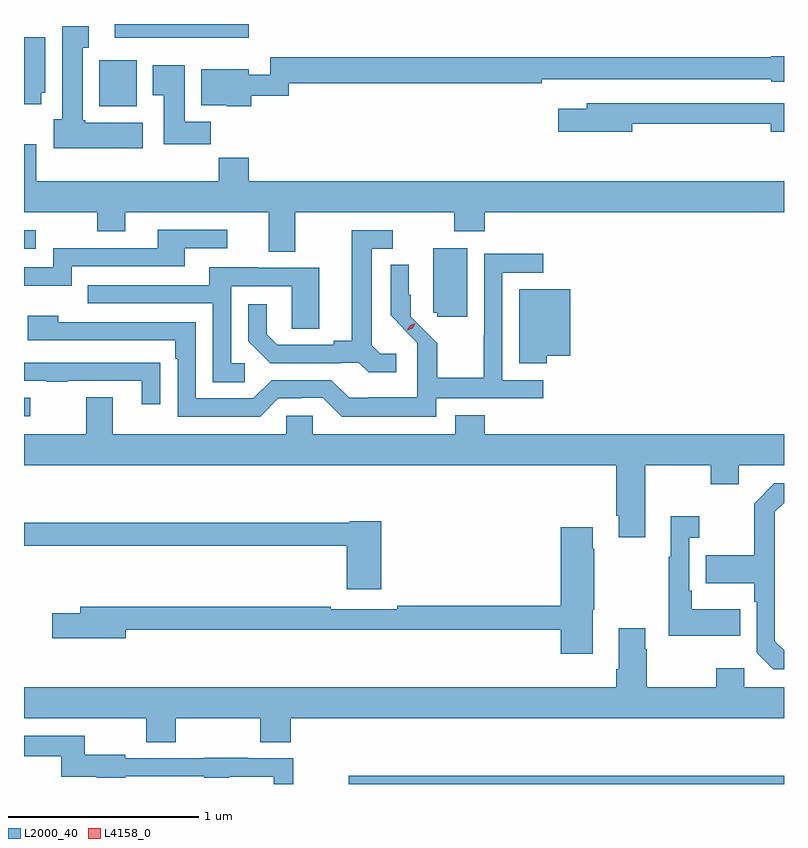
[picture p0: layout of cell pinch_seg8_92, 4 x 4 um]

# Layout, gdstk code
import gdstk
lib = gdstk.Library(unit=1e-6, precision=1e-09)
def R(c, l, rs):  # rectangles x0, y0, x1, y1
    for r in rs: c.add(gdstk.rectangle(r[:2], r[2:], *l))
def P(c, l, *ps):  # polygons
    for p in ps: c.add(gdstk.Polygon(p, *l))
L2000_40 = (2000, 40)
L4158_0 = (4158, 0)

pinch_seg8_92 = lib.new_cell('pinch_seg8_92')
R(pinch_seg8_92, L2000_40, [(1079.54,1101.503,1081.83,1101.547), (1077.83,1103.439,1077.862,1103.535), (1077.83,1104.321,1077.892,1104.417), (1078.226,1105.07,1078.423,1105.312), (1078.307,1105.43,1079.012,1105.503)])
P(pinch_seg8_92, L2000_40, [(1078.456,1104.982),(1078.152,1104.982),(1078.152,1104.996),(1078.138,1104.996),(1078.138,1105.379),(1078.171,1105.379),(1078.171,1105.492),(1078.031,1105.492),(1078.031,1105.002),(1077.986,1105.002),(1077.986,1104.848),(1078.456,1104.848)],
  [(1077.922,1105.14),(1077.943,1105.14),(1077.943,1105.432),(1077.83,1105.432),(1077.83,1105.08),(1077.922,1105.08)],
  [(1079.027,1105.125),(1079.223,1105.125),(1079.223,1105.192),(1080.554,1105.192),(1080.554,1105.212),(1081.764,1105.212),(1081.764,1105.199),(1081.83,1105.199),(1081.83,1105.334),(1081.764,1105.334),(1081.764,1105.328),(1079.127,1105.328),(1079.127,1105.235),(1079.014,1105.235),(1079.014,1105.264),(1078.763,1105.264),(1078.763,1105.076),(1078.896,1105.076),(1078.896,1105.07),(1079.027,1105.07)],
  [(1078.814,1104.988),(1078.675,1104.988),(1078.675,1105.285),(1078.508,1105.285),(1078.508,1105.129),(1078.565,1105.129),(1078.565,1104.87),(1078.814,1104.87)],
  [(1081.03,1104.978),(1081.76,1104.978),(1081.76,1104.935),(1081.83,1104.935),(1081.83,1105.086),(1080.791,1105.086),(1080.791,1105.057),(1080.642,1105.057),(1080.642,1104.935),(1081.03,1104.935)],
  [(1079.012,1104.8),(1078.855,1104.8),(1078.855,1104.676),(1077.895,1104.676),(1077.895,1104.871),(1077.83,1104.871),(1077.83,1104.512),(1078.216,1104.512),(1078.216,1104.413),(1078.363,1104.413),(1078.363,1104.512),(1079.117,1104.512),(1079.117,1104.304),(1079.257,1104.304),(1079.257,1104.512),(1080.094,1104.512),(1080.094,1104.413),(1080.254,1104.413),(1080.254,1104.512),(1081.83,1104.512),(1081.83,1104.676),(1079.012,1104.676)],
  [(1078.08,1104.228),(1078.675,1104.228),(1078.675,1104.324),(1078.9,1104.324),(1078.9,1104.42),(1078.535,1104.42),(1078.535,1104.324),(1077.984,1104.324),(1077.984,1104.222),(1077.83,1104.222),(1077.83,1104.125),(1078.08,1104.125)],
  [(1079.788,1103.767),(1079.705,1103.767),(1079.659,1103.813),(1079.659,1104.321),(1079.77,1104.321),(1079.77,1104.417),(1079.555,1104.417),(1079.555,1103.837),(1079.459,1103.837),(1079.459,1103.814),(1079.164,1103.814),(1079.107,1103.871),(1079.107,1104.028),(1079.01,1104.028),(1079.01,1103.834),(1079.126,1103.718),(1079.498,1103.718),(1079.498,1103.721),(1079.592,1103.721),(1079.644,1103.669),(1079.788,1103.669)],
  [(1080.163,1104.322),(1079.984,1104.322),(1079.984,1103.982),(1080.006,1103.982),(1080.006,1103.961),(1080.163,1103.961)],
  [(1080,1103.532),(1080.562,1103.532),(1080.562,1103.628),(1080.348,1103.628),(1080.348,1104.195),(1080.562,1104.195),(1080.562,1104.294),(1080.252,1104.294),(1080.252,1103.864),(1080.25,1103.864),(1080.25,1103.641),(1080.005,1103.641),(1080.005,1103.822),(1079.865,1103.962),(1079.865,1104.078),(1079.856,1104.078),(1079.856,1104.236),(1079.76,1104.236),(1079.76,1103.969),(1079.829,1103.9),(1079.827,1103.898),(1079.899,1103.826),(1079.899,1103.539),(1079.641,1103.539),(1079.641,1103.535),(1079.541,1103.535),(1079.448,1103.628),(1079.133,1103.628),(1079.037,1103.532),(1078.734,1103.532),(1078.734,1103.934),(1078.01,1103.934),(1078.01,1103.968),(1077.849,1103.968),(1077.849,1103.838),(1078.625,1103.838),(1078.625,1103.741),(1078.638,1103.741),(1078.638,1103.436),(1079.073,1103.436),(1079.169,1103.532),(1079.288,1103.532),(1079.288,1103.535),(1079.403,1103.535),(1079.503,1103.435),(1080,1103.435)],
  [(1078.993,1103.718),(1078.92,1103.718),(1078.92,1104.123),(1079.238,1104.123),(1079.238,1103.899),(1079.383,1103.899),(1079.383,1104.219),(1079.059,1104.219),(1079.059,1104.223),(1078.805,1104.223),(1078.805,1104.129),(1078.165,1104.129),(1078.165,1104.033),(1078.824,1104.033),(1078.824,1103.617),(1078.993,1103.617)],
  [(1080.581,1103.756),(1080.706,1103.756),(1080.706,1104.106),(1080.437,1104.106),(1080.437,1103.717),(1080.581,1103.717)],
  [(1078.547,1103.72),(1078.445,1103.72),(1078.445,1103.721),(1077.83,1103.721),(1077.83,1103.625),(1077.949,1103.625),(1077.949,1103.62),(1078.061,1103.62),(1078.061,1103.625),(1078.451,1103.625),(1078.451,1103.502),(1078.547,1103.502)],
  [(1081.099,1103.18),(1081.444,1103.18),(1081.444,1103.081),(1081.591,1103.081),(1081.591,1103.18),(1081.83,1103.18),(1081.83,1103.344),(1080.254,1103.344),(1080.254,1103.443),(1080.101,1103.443),(1080.101,1103.344),(1079.349,1103.344),(1079.349,1103.442),(1079.211,1103.442),(1079.211,1103.344),(1078.297,1103.344),(1078.297,1103.539),(1078.157,1103.539),(1078.157,1103.344),(1077.83,1103.344),(1077.83,1103.18),(1080.947,1103.18),(1080.947,1102.915),(1080.959,1102.915),(1080.959,1102.803),(1081.099,1102.803)],
  [(1081.83,1102.206),(1081.782,1102.254),(1081.782,1102.935),(1081.83,1102.983),(1081.83,1103.085),(1081.779,1103.085),(1081.674,1102.979),(1081.674,1102.707),(1081.417,1102.707),(1081.417,1102.559),(1081.674,1102.559),(1081.674,1102.463),(1081.686,1102.463),(1081.686,1102.194),(1081.773,1102.107),(1081.83,1102.107)],
  [(1081.601,1102.423),(1081.345,1102.423),(1081.345,1102.519),(1081.332,1102.519),(1081.332,1102.799),(1081.384,1102.799),(1081.384,1102.912),(1081.235,1102.912),(1081.235,1102.699),(1081.224,1102.699),(1081.224,1102.283),(1081.601,1102.283)],
  [(1079.711,1102.887),(1079.544,1102.887),(1079.544,1102.879),(1077.83,1102.879),(1077.83,1102.758),(1079.528,1102.758),(1079.528,1102.527),(1079.711,1102.527)],
  [(1080.823,1102.419),(1080.831,1102.419),(1080.831,1102.742),(1080.823,1102.742),(1080.823,1102.855),(1080.656,1102.855),(1080.656,1102.442),(1079.794,1102.442),(1079.794,1102.422),(1079.444,1102.422),(1079.444,1102.435),(1078.127,1102.435),(1078.127,1102.401),(1077.978,1102.401),(1077.978,1102.271),(1078.366,1102.271),(1078.366,1102.314),(1080.656,1102.314),(1080.656,1102.188),(1080.823,1102.188)],
  [(1078.629,1101.848),(1079.074,1101.848),(1079.074,1101.724),(1079.234,1101.724),(1079.234,1101.848),(1081.83,1101.848),(1081.83,1102.012),(1081.62,1102.012),(1081.62,1102.111),(1081.474,1102.111),(1081.474,1102.012),(1081.107,1102.012),(1081.107,1102.211),(1081.099,1102.211),(1081.099,1102.324),(1080.959,1102.324),(1080.959,1102.108),(1080.947,1102.108),(1080.947,1102.012),(1077.83,1102.012),(1077.83,1101.848),(1078.474,1101.848),(1078.474,1101.724),(1078.629,1101.724)],
  [(1079.246,1101.639),(1079.011,1101.639),(1079.011,1101.641),(1078.779,1101.641),(1078.779,1101.639),(1078.362,1101.639),(1078.362,1101.658),(1078.15,1101.658),(1078.15,1101.756),(1077.83,1101.756),(1077.83,1101.648),(1078.025,1101.648),(1078.025,1101.542),(1078.212,1101.542),(1078.212,1101.536),(1078.362,1101.536),(1078.362,1101.543),(1078.779,1101.543),(1078.779,1101.536),(1078.911,1101.536),(1078.911,1101.542),(1079.145,1101.542),(1079.145,1101.503),(1079.246,1101.503)])
P(pinch_seg8_92, L4158_0, [(1079.848,1103.892),(1079.848,1103.893),(1079.863,1103.918),(1079.89,1103.927),(1079.89,1103.927),(1079.89,1103.927),(1079.876,1103.902),(1079.848,1103.892)])

lib.write_gds('pinch_seg8_92.gds')
